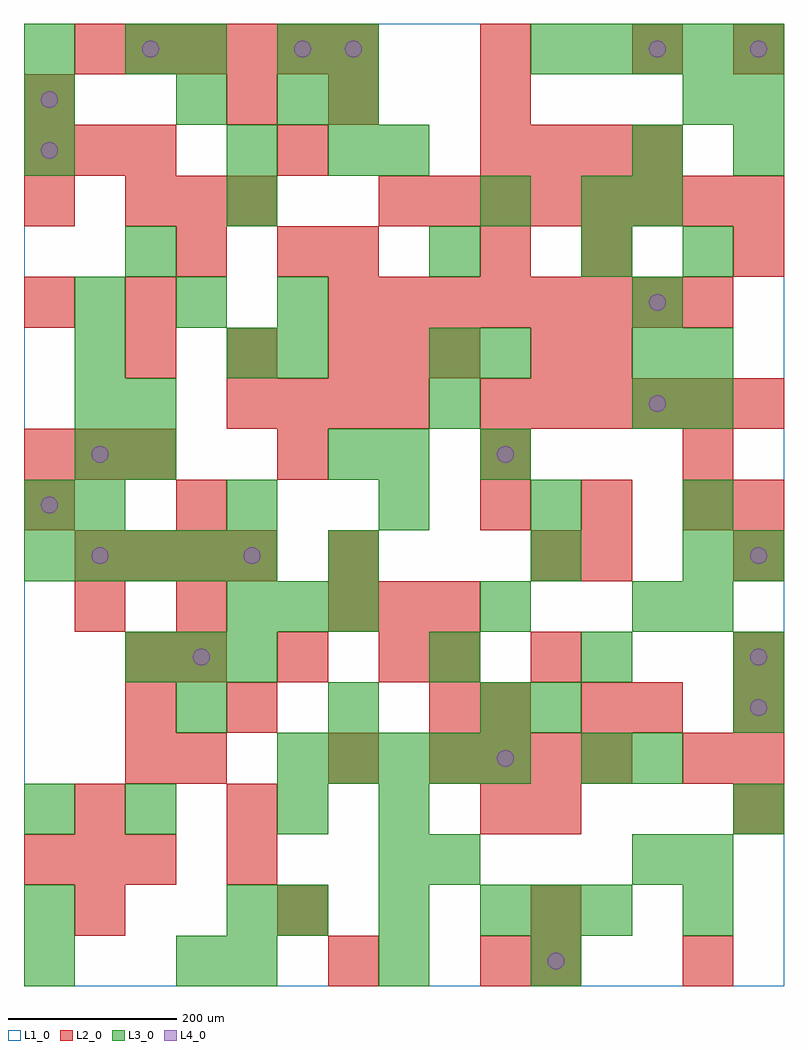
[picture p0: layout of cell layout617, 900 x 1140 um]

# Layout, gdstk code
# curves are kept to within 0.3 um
import gdstk
lib = gdstk.Library(unit=1e-6, precision=1e-09)
def R(c, l, rs):  # rectangles x0, y0, x1, y1
    for r in rs: c.add(gdstk.rectangle(r[:2], r[2:], *l))
def A(c, l, x, y, w, h, nx, ny, dx, dy):  # array of equal rectangles
    R(c, l, [(x+i*dx, y+j*dy, x+i*dx+w, y+j*dy+h) for i in range(nx) for j in range(ny)])
def P(c, l, *ps):  # polygons
    for p in ps: c.add(gdstk.Polygon(p, *l))
L1_0 = (1, 0)
L2_0 = (2, 0)
L3_0 = (3, 0)
L4_0 = (4, 0)

layout617 = lib.new_cell('layout617')
R(layout617, L1_0, [(0,0,900,1140)])
A(layout617, L2_0, 360, 0, 60, 60, 1, 3, 0, 240)
A(layout617, L2_0, 0, 120, 60, 60, 3, 2, 60, 480)
A(layout617, L2_0, 840, 180, 60, 60, 1, 4, 0, 60)
A(layout617, L2_0, 120, 240, 60, 60, 1, 3, 0, 60)
A(layout617, L2_0, 480, 240, 60, 60, 4, 1, 60, 0)
A(layout617, L2_0, 180, 360, 60, 60, 3, 1, 120, 0)
A(layout617, L2_0, 360, 420, 60, 60, 3, 1, 60, 0)
A(layout617, L2_0, 60, 480, 60, 60, 4, 1, 60, 0)
A(layout617, L2_0, 540, 540, 60, 60, 3, 1, 120, 0)
A(layout617, L2_0, 300, 600, 60, 60, 3, 1, 240, 0)
A(layout617, L2_0, 240, 660, 60, 60, 4, 1, 60, 0)
A(layout617, L2_0, 540, 660, 60, 60, 6, 1, 60, 0)
A(layout617, L2_0, 120, 720, 60, 60, 3, 1, 120, 0)
A(layout617, L2_0, 0, 780, 60, 60, 1, 3, 0, 120)
A(layout617, L2_0, 360, 780, 60, 60, 8, 1, 60, 0)
A(layout617, L2_0, 120, 900, 60, 60, 3, 1, 60, 0)
A(layout617, L2_0, 420, 900, 60, 60, 8, 1, 60, 0)
A(layout617, L2_0, 0, 960, 60, 60, 3, 1, 60, 0)
A(layout617, L2_0, 540, 960, 60, 60, 4, 1, 60, 0)
A(layout617, L2_0, 60, 1080, 60, 60, 6, 1, 60, 0)
R(layout617, L2_0, [(540,0,600,60), (600,0,660,60), (780,0,840,60), (60,60,120,120), (300,60,360,120), (600,60,660,120), (240,120,300,180), (60,180,120,240), (240,180,300,240), (540,180,600,240), (600,180,660,240), (180,240,240,300), (780,240,840,300), (240,300,300,360), (480,300,540,360), (540,300,600,360), (660,300,720,360), (720,300,780,360), (480,360,540,420), (600,360,660,420), (60,420,120,480), (180,420,240,480), (600,480,660,540), (660,480,720,540), (840,480,900,540), (0,540,60,600), (180,540,240,600), (840,540,900,600), (420,720,480,780), (480,720,540,780), (600,720,660,780), (660,720,720,780), (120,780,180,840), (180,840,240,900), (300,840,360,900), (360,840,420,900), (540,840,600,900), (660,840,720,900), (840,840,900,900), (300,960,360,1020), (240,1020,300,1080), (360,1020,420,1080), (540,1020,600,1080), (540,1080,600,1140), (720,1080,780,1140), (840,1080,900,1140)])
A(layout617, L3_0, 240, 0, 60, 60, 3, 1, 180, 0)
A(layout617, L3_0, 300, 60, 60, 60, 3, 1, 120, 0)
A(layout617, L3_0, 300, 240, 60, 60, 5, 1, 60, 0)
A(layout617, L3_0, 180, 300, 60, 60, 3, 1, 180, 0)
A(layout617, L3_0, 120, 360, 60, 60, 3, 1, 60, 0)
A(layout617, L3_0, 480, 360, 60, 60, 3, 1, 180, 0)
A(layout617, L3_0, 240, 420, 60, 60, 3, 1, 60, 0)
A(layout617, L3_0, 0, 480, 60, 60, 5, 1, 60, 0)
A(layout617, L3_0, 60, 540, 60, 60, 5, 1, 180, 0)
A(layout617, L3_0, 60, 600, 60, 60, 1, 3, 0, 60)
A(layout617, L3_0, 720, 660, 60, 60, 1, 3, 0, 60)
A(layout617, L3_0, 60, 780, 60, 60, 3, 1, 120, 0)
A(layout617, L3_0, 0, 960, 60, 60, 1, 3, 0, 60)
A(layout617, L3_0, 360, 960, 60, 60, 1, 3, 0, 60)
A(layout617, L3_0, 600, 1080, 60, 60, 5, 1, 60, 0)
R(layout617, L3_0, [(0,0,60,60), (180,0,240,60), (0,60,60,120), (240,60,300,120), (600,60,660,120), (660,60,720,120), (780,60,840,120), (420,120,480,180), (480,120,540,180), (720,120,780,180), (780,120,840,180), (0,180,60,240), (120,180,180,240), (300,180,360,240), (420,180,480,240), (840,180,900,240), (660,240,720,300), (720,240,780,300), (600,300,660,360), (840,300,900,360), (540,420,600,480), (720,420,780,480), (780,420,840,480), (360,480,420,540), (600,480,660,540), (780,480,840,540), (840,480,900,540), (0,540,60,600), (120,600,180,660), (360,600,420,660), (420,600,480,660), (540,600,600,660), (120,660,180,720), (480,660,540,720), (780,660,840,720), (240,720,300,780), (300,720,360,780), (480,720,540,780), (540,720,600,780), (780,720,840,780), (120,840,180,900), (480,840,540,900), (660,840,720,900), (780,840,840,900), (240,900,300,960), (540,900,600,960), (660,900,720,960), (720,900,780,960), (240,960,300,1020), (420,960,480,1020), (720,960,780,1020), (840,960,900,1020), (180,1020,240,1080), (300,1020,360,1080), (780,1020,840,1080), (840,1020,900,1080), (120,1080,180,1140), (180,1080,240,1140), (300,1080,360,1140)])
P(layout617, L4_0, [(40,570),(39.239,573.827),(37.071,577.071),(33.827,579.239),(30,580),(26.173,579.239),(22.929,577.071),(20.761,573.827),(20,570),(20.761,566.173),(22.929,562.929),(26.173,560.761),(30,560),(33.827,560.761),(37.071,562.929),(39.239,566.173)],
  [(40,990),(39.239,993.827),(37.071,997.071),(33.827,999.239),(30,1000),(26.173,999.239),(22.929,997.071),(20.761,993.827),(20,990),(20.761,986.173),(22.929,982.929),(26.173,980.761),(30,980),(33.827,980.761),(37.071,982.929),(39.239,986.173)],
  [(40,1050),(39.239,1053.827),(37.071,1057.071),(33.827,1059.239),(30,1060),(26.173,1059.239),(22.929,1057.071),(20.761,1053.827),(20,1050),(20.761,1046.173),(22.929,1042.929),(26.173,1040.761),(30,1040),(33.827,1040.761),(37.071,1042.929),(39.239,1046.173)],
  [(100,510),(99.239,513.827),(97.071,517.071),(93.827,519.239),(90,520),(86.173,519.239),(82.929,517.071),(80.761,513.827),(80,510),(80.761,506.173),(82.929,502.929),(86.173,500.761),(90,500),(93.827,500.761),(97.071,502.929),(99.239,506.173)],
  [(100,630),(99.239,633.827),(97.071,637.071),(93.827,639.239),(90,640),(86.173,639.239),(82.929,637.071),(80.761,633.827),(80,630),(80.761,626.173),(82.929,622.929),(86.173,620.761),(90,620),(93.827,620.761),(97.071,622.929),(99.239,626.173)],
  [(160,1110),(159.239,1113.827),(157.071,1117.071),(153.827,1119.239),(150,1120),(146.173,1119.239),(142.929,1117.071),(140.761,1113.827),(140,1110),(140.761,1106.173),(142.929,1102.929),(146.173,1100.761),(150,1100),(153.827,1100.761),(157.071,1102.929),(159.239,1106.173)],
  [(220,390),(219.239,393.827),(217.071,397.071),(213.827,399.239),(210,400),(206.173,399.239),(202.929,397.071),(200.761,393.827),(200,390),(200.761,386.173),(202.929,382.929),(206.173,380.761),(210,380),(213.827,380.761),(217.071,382.929),(219.239,386.173)],
  [(280,510),(279.239,513.827),(277.071,517.071),(273.827,519.239),(270,520),(266.173,519.239),(262.929,517.071),(260.761,513.827),(260,510),(260.761,506.173),(262.929,502.929),(266.173,500.761),(270,500),(273.827,500.761),(277.071,502.929),(279.239,506.173)],
  [(340,1110),(339.239,1113.827),(337.071,1117.071),(333.827,1119.239),(330,1120),(326.173,1119.239),(322.929,1117.071),(320.761,1113.827),(320,1110),(320.761,1106.173),(322.929,1102.929),(326.173,1100.761),(330,1100),(333.827,1100.761),(337.071,1102.929),(339.239,1106.173)],
  [(400,1110),(399.239,1113.827),(397.071,1117.071),(393.827,1119.239),(390,1120),(386.173,1119.239),(382.929,1117.071),(380.761,1113.827),(380,1110),(380.761,1106.173),(382.929,1102.929),(386.173,1100.761),(390,1100),(393.827,1100.761),(397.071,1102.929),(399.239,1106.173)],
  [(580,270),(579.239,273.827),(577.071,277.071),(573.827,279.239),(570,280),(566.173,279.239),(562.929,277.071),(560.761,273.827),(560,270),(560.761,266.173),(562.929,262.929),(566.173,260.761),(570,260),(573.827,260.761),(577.071,262.929),(579.239,266.173)],
  [(580,630),(579.239,633.827),(577.071,637.071),(573.827,639.239),(570,640),(566.173,639.239),(562.929,637.071),(560.761,633.827),(560,630),(560.761,626.173),(562.929,622.929),(566.173,620.761),(570,620),(573.827,620.761),(577.071,622.929),(579.239,626.173)],
  [(640,30),(639.239,33.827),(637.071,37.071),(633.827,39.239),(630,40),(626.173,39.239),(622.929,37.071),(620.761,33.827),(620,30),(620.761,26.173),(622.929,22.929),(626.173,20.761),(630,20),(633.827,20.761),(637.071,22.929),(639.239,26.173)],
  [(760,690),(759.239,693.827),(757.071,697.071),(753.827,699.239),(750,700),(746.173,699.239),(742.929,697.071),(740.761,693.827),(740,690),(740.761,686.173),(742.929,682.929),(746.173,680.761),(750,680),(753.827,680.761),(757.071,682.929),(759.239,686.173)],
  [(760,810),(759.239,813.827),(757.071,817.071),(753.827,819.239),(750,820),(746.173,819.239),(742.929,817.071),(740.761,813.827),(740,810),(740.761,806.173),(742.929,802.929),(746.173,800.761),(750,800),(753.827,800.761),(757.071,802.929),(759.239,806.173)],
  [(760,1110),(759.239,1113.827),(757.071,1117.071),(753.827,1119.239),(750,1120),(746.173,1119.239),(742.929,1117.071),(740.761,1113.827),(740,1110),(740.761,1106.173),(742.929,1102.929),(746.173,1100.761),(750,1100),(753.827,1100.761),(757.071,1102.929),(759.239,1106.173)],
  [(880,330),(879.239,333.827),(877.071,337.071),(873.827,339.239),(870,340),(866.173,339.239),(862.929,337.071),(860.761,333.827),(860,330),(860.761,326.173),(862.929,322.929),(866.173,320.761),(870,320),(873.827,320.761),(877.071,322.929),(879.239,326.173)],
  [(880,390),(879.239,393.827),(877.071,397.071),(873.827,399.239),(870,400),(866.173,399.239),(862.929,397.071),(860.761,393.827),(860,390),(860.761,386.173),(862.929,382.929),(866.173,380.761),(870,380),(873.827,380.761),(877.071,382.929),(879.239,386.173)],
  [(880,510),(879.239,513.827),(877.071,517.071),(873.827,519.239),(870,520),(866.173,519.239),(862.929,517.071),(860.761,513.827),(860,510),(860.761,506.173),(862.929,502.929),(866.173,500.761),(870,500),(873.827,500.761),(877.071,502.929),(879.239,506.173)],
  [(880,1110),(879.239,1113.827),(877.071,1117.071),(873.827,1119.239),(870,1120),(866.173,1119.239),(862.929,1117.071),(860.761,1113.827),(860,1110),(860.761,1106.173),(862.929,1102.929),(866.173,1100.761),(870,1100),(873.827,1100.761),(877.071,1102.929),(879.239,1106.173)])

lib.write_gds('layout617.gds')
